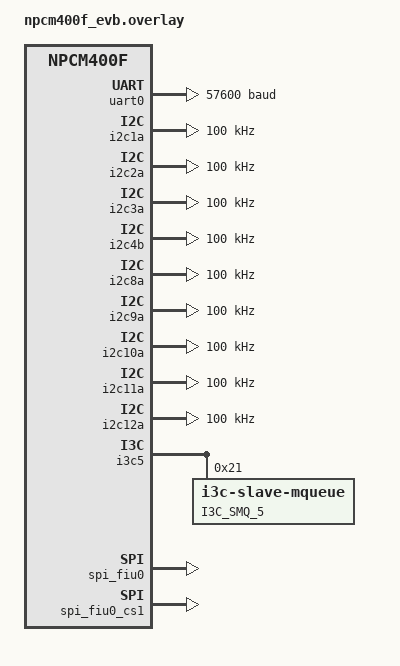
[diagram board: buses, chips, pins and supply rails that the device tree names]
&twd0 {
	status = "disabled";
};

&adc0 {
    status = "disabled";
};

&uart0 {
	status = "okay";
	current-speed = <57600>;
};

&i2c1a {
	clock-frequency = <I2C_BITRATE_STANDARD>;
	status = "okay";
};

&i2c1b {
    status = "disabled";
};

&i2c2a {
	clock-frequency = <I2C_BITRATE_STANDARD>;
	status = "okay";
};

&i2c3a {
	clock-frequency = <I2C_BITRATE_STANDARD>;
	status = "okay";
};

&i2c4a {
    status = "disabled";
};

&i2c4b {
	clock-frequency = <I2C_BITRATE_STANDARD>;
    wait_free_time = <1000>;
	status = "okay";
};

&i2c5a {
	status = "disabled";
};

&i2c6a {
	status = "disabled";
};

&i2c6b {
	status = "disabled";
};

&i2c7a {
	status = "disabled";
};

&i2c8a {
    clock-frequency = <I2C_BITRATE_STANDARD>;
	status = "okay";
};

&i2c9a {
    clock-frequency = <I2C_BITRATE_STANDARD>;
	status = "okay";
};

&i2c10a {
    clock-frequency = <I2C_BITRATE_STANDARD>;
	status = "okay";
};

&i2c11a {
    clock-frequency = <I2C_BITRATE_STANDARD>;
	status = "okay";
};

&i2c12a {
    clock-frequency = <I2C_BITRATE_STANDARD>;
	status = "okay";
};

&spip1 {
    status = "disabled";
};

&usbd0 {
    status = "disabled";
};

&jtag1 {
    status = "disabled";
};

&i3c0 {
    status = "disabled";
};

&i3c4 {
    status = "disabled";
};

&i3c5 {
	status = "okay";
	slave;
	secondary;
	assigned-address = <0x21>;
	part-id = <0x1234>;
	vendor-def-id = <0x567>;
	bcr = <0x66>;
	dcr = <0xCC>;
	busno = <0x4>;
	pinctrl-0 = <&pinctrl_i3c5_default>;
	i2c-scl-hz = <100000>;
	i3c-scl-hz = <12500000>;

	i3c5_smq:i3c-slave-mqueue@21 {
		compatible = "i3c-slave-mqueue";
		reg = <0x21>;
		msg-size = <256>;
		num-of-msgs = <8>;
		mandatory-data-byte = <0xAE>;
		label = "I3C_SMQ_5";
		status = "okay";
	};
};


&peci0 {
    status = "disabled";
};

&espi0 {
    status = "disabled";
};

&kcs1 {
    status = "disabled";
};

&kcs2 {
    status = "disabled";
};

&kcs3 {
    status = "disabled";
};

&kcs4 {
    status = "disabled";
};

&spi_fiu0 { 
    status = "okay"; 
    pinctrl-0 = < &pinctrl_shd_spi_default>; 
}; 
&spi_fiu0_cs1 { 
	status = "okay"; 
    spi-max-buswidth = < 1 >; 
    spi-max-frequency = < 24000000 >; 
    re-init-support; 
}; 
&pcc { 
       clock-frequency = <DT_FREQ_M(96)>; /* OFMCLK runs at 96MHz */ 
       core-prescaler = <1>; /* CORE_CLK runs at 96MHz */ 
       apb1-prescaler = <8>; /* APB1_CLK runs at 12MHz */ 
       apb2-prescaler = <1>; /* APB2_CLK runs at 96MHz */ 
       apb3-prescaler = <1>; /* APB3_CLK runs at 96MHz */ 
       fiu-prescaler = <4>; /* FIU_CLK runs at 24MHz */ 
};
